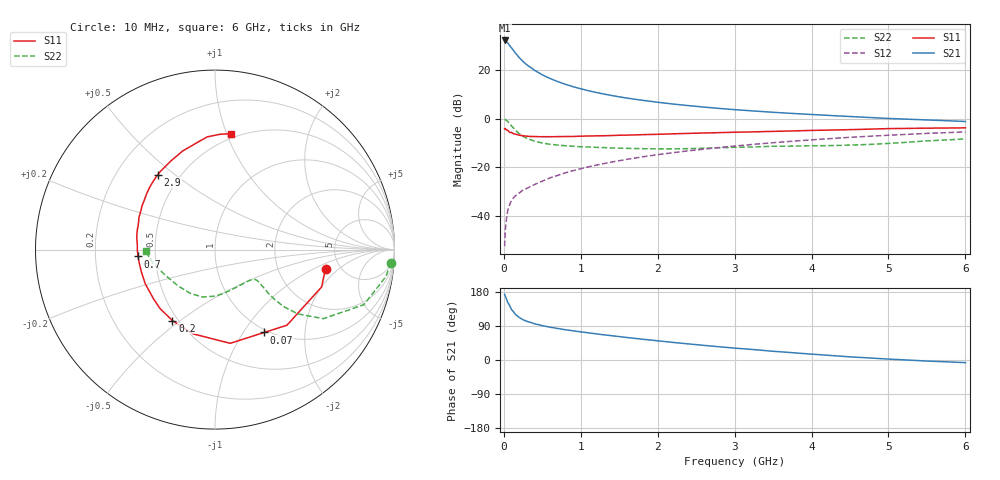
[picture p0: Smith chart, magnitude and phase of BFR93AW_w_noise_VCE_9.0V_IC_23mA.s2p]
! Infineon Technologies  Discrete & RF Semiconductors
! BFR93AW
! VCE =  9.0 V,  IC =  23 mA
! Common Emitter S-Parameters:  Jan 2017
# GHz  S  MA  R  50
!  f  S11  S21  S12  S22
! GHz  MAG  ANG  MAG  ANG  MAG  ANG  MAG  ANG
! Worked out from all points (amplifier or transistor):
!   77 points, 10 MHz to 6 GHz, reference 50 ohm
!   highest |S21| = 32.2 dB at 10 MHz (marker M1)
!   |S21| within 3 dB of that: start of sweep to 98.55 MHz
!   unconditionally stable (mu >= 1): 670.7 MHz to 2.054 GHz
!   at 130 MHz: K = 0.45, MSG = 30.1 dB, |S12| = -32.4 dB
!   at 2.2 GHz: K = 0.99, MSG = 10.0 dB, |S12| = -13.9 dB
!   at 6 GHz: K = 0.86, MSG = 2.1 dB, |S12| = -5.4 dB
!   lowest NFmin = 1.60 dB at 450 MHz
!   S11 on the Smith chart (normalised r, x): 10 MHz: 3.84, -1.34; 70 MHz: 0.96, -1.25; 200 MHz: 0.47, -0.47; 700 MHz: 0.40, -0.04; 2.9 GHz: 0.38, +0.44; 6 GHz: 0.46, +1.04
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0.01  0.625 -9.8  40.97 173.5  0.0024 85.1  0.9821 -4.3
0.02  0.6294 -19.3  40.73 168.0  0.0053 89.0  0.9645 -8.9
0.05  0.5816 -46.4  36.67 152.1  0.0128 70.4  0.8847 -20.3
0.07  0.537 -59.3  33.1 145.5  0.0161 66.3  0.813 -24.6
0.1  0.529 -80.8  28.83 132.8  0.0212 62.5  0.7161 -32.5
0.15  0.485 -104.6  22.57 120.4  0.0261 58.8  0.5828 -37.9
0.2  0.4612 -120.9  18.17 112.3  0.0298 58.1  0.4959 -39.7
0.25  0.4492 -132.9  15.13 106.2  0.0343 58.1  0.4375 -39.9
0.3  0.4388 -141.4  12.86 102.0  0.0372 60.0  0.3955 -39.6
0.4  0.4327 -153.9  9.931 95.4  0.0446 62.5  0.3467 -38.1
0.5  0.4287 -162.8  8.04 90.7  0.0522 64.3  0.3179 -37.1
0.6  0.4287 -169.7  6.772 86.6  0.0609 65.9  0.3 -36.4
0.7  0.4305 -174.9  5.836 83.2  0.0686 67.6  0.2883 -36.3
0.9  0.4338 176.2  4.576 77.0  0.0857 68.5  0.2729 -37.4
1.1  0.4436 168.9  3.79 71.7  0.103 68.8  0.2632 -39.7
1.5  0.4595 157.5  2.834 61.8  0.1375 68.1  0.249 -47.2
2.1  0.4857 142.9  2.102 48.6  0.1922 64.8  0.2409 -63.8
2.9  0.525 127.3  1.591 33.2  0.2659 58.6  0.2566 -88.4
3.1  0.5338 123.4  1.506 29.8  0.2846 56.7  0.2611 -94.0
4.1  0.5815 106.7  1.204 14.1  0.3789 47.1  0.2798 -122.5
5.1  0.6317 92.6  1.004 1.4  0.4678 36.2  0.3187 -156.2
6  0.6523 82.0  0.882 -7.0  0.5384 26.0  0.3866 -178.6
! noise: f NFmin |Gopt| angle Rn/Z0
0.45  1.6  0.15  166  0.15
0.9  1.88  0.24  177  0.16
1.9  2.89  0.48  -138  0.24
2.4  3.53  0.55  -126  0.48
